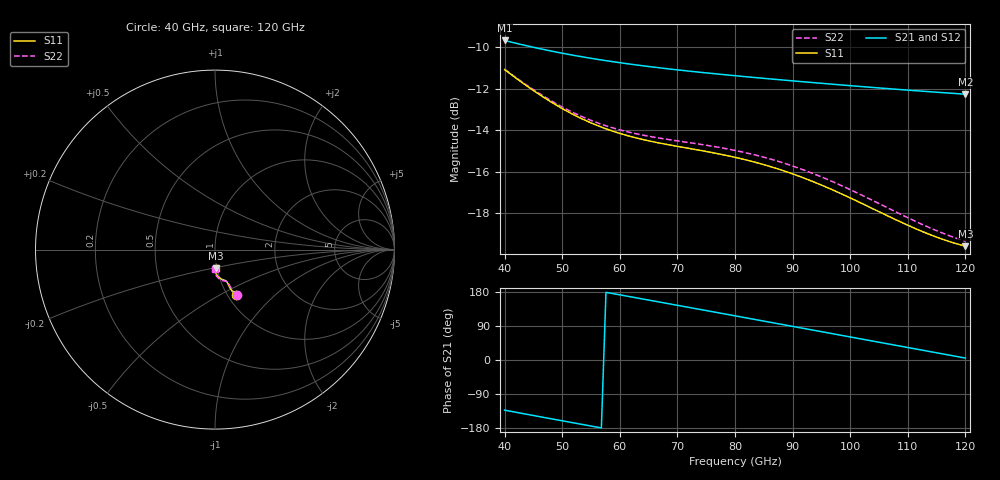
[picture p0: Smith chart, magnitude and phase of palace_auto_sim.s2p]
#  GHZ S DB R 50
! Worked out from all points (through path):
!   101 points, 40 GHz to 120 GHz, reference 50 ohm
!   highest |S21| = -9.68 dB at 40 GHz (marker M1); lowest = -12.3 dB at 120 GHz (marker M2)
!   group delay of S21, straight-line fit = 7.72 ps
!   lowest |S11| = -19.6 dB at 120 GHz (marker M3), VSWR 1.23, Z = 49.4 - j10.5 ohm
!   |S11| at or under -10 dB: start of sweep to end of sweep
!   |S22| runs from -19.3 to -11.1 dB; largest |S21 - S12| = 4.6e-14
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40  -11.08 -65.4  -9.68 -132.3  -9.68 -132.3  -11.07 -64.6
43.2  -11.74 -67.0  -9.90 -141.4  -9.90 -141.4  -11.71 -66.1
46.4  -12.35 -68.0  -10.09 -150.4  -10.09 -150.4  -12.30 -67.0
49.6  -12.89 -68.7  -10.27 -159.3  -10.27 -159.3  -12.82 -67.6
53.6  -13.47 -69.1  -10.47 -170.4  -10.47 -170.4  -13.36 -67.9
56.8  -13.85 -69.2  -10.62 -179.2  -10.62 -179.2  -13.71 -68.0
60  -14.15 -69.4  -10.75 171.9  -10.75 171.9  -13.98 -68.2
63.2  -14.39 -69.8  -10.87 163.1  -10.87 163.1  -14.19 -68.6
67.2  -14.63 -70.5  -11.01 152.1  -11.01 152.1  -14.39 -69.5
73.6  -14.95 -72.7  -11.20 134.3  -11.20 134.3  -14.66 -71.9
76.8  -15.11 -74.2  -11.29 125.5  -11.29 125.5  -14.80 -73.5
80  -15.30 -75.9  -11.38 116.6  -11.38 116.6  -14.97 -75.4
83.2  -15.52 -77.7  -11.46 107.7  -11.46 107.7  -15.17 -77.4
86.4  -15.77 -79.7  -11.54 98.7  -11.54 98.7  -15.40 -79.5
89.6  -16.06 -81.6  -11.61 89.8  -11.61 89.8  -15.68 -81.6
93.6  -16.47 -83.8  -11.71 78.7  -11.71 78.7  -16.09 -84.1
96.8  -16.85 -85.4  -11.78 69.7  -11.78 69.7  -16.45 -85.9
100  -17.25 -86.7  -11.85 60.8  -11.85 60.8  -16.85 -87.5
107.2  -18.21 -88.5  -12.01 40.7  -12.01 40.7  -17.83 -89.9
113.6  -18.99 -88.4  -12.14 22.9  -12.14 22.9  -18.66 -90.4
116.8  -19.31 -87.9  -12.20 14.0  -12.20 14.0  -19.03 -90.1
120  -19.57 -87.2  -12.26 5.1  -12.26 5.1  -19.34 -89.5
